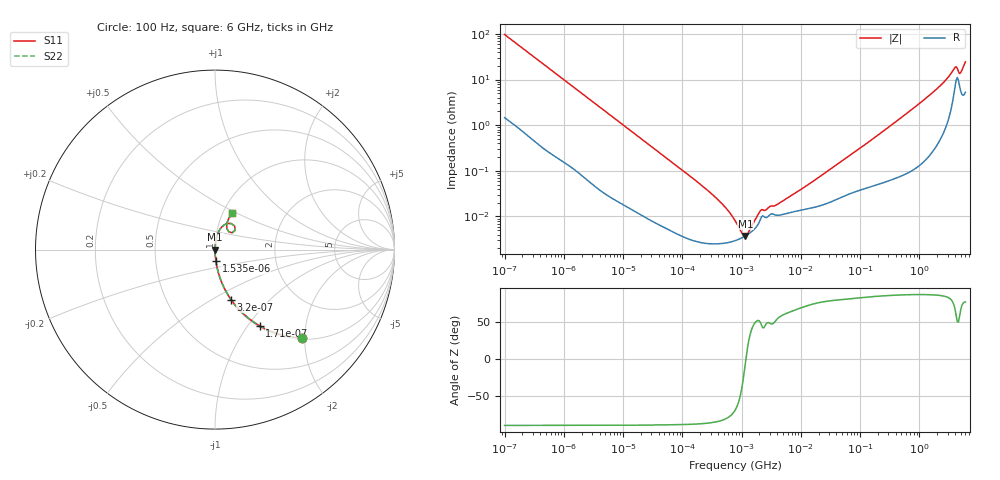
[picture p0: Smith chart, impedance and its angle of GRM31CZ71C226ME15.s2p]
!Murata Part Number: GRM31CZ71C226ME15
!These Parameters are Measured in Series Mode Connection
!Data Generated on Mar 30, 2021
!  o--ll--o
!Port1  Port2
!  o------o
!Operation Temp=25[degC], DC Bias Voltage=0[V]
!Freq. Start=100[Hz] Stop=6[GHz] 401[Steps]
# Hz S RI R 50
!Freq.(Hz) S11(Real) S11(Imag) S21(Real) S21(Imag) S12(Real) S12(Imag) S22(Real) S22(Imag)
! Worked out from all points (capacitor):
!   401 points, 100 Hz to 6 GHz, reference 50 ohm
!   read as one part in series: C = 16.3 uF near 109 Hz
!   lowest |Z| = 3.76 mohm at 1.159 MHz (marker M1)
!   series resonance near 1.18 MHz, so ESL is about 1.1 nH
!   S11 on the Smith chart (normalised r, x): 100 Hz: 1.03, -1.94; 171 Hz: 1.02, -1.14; 320 Hz: 1.01, -0.61; 1.535 kHz: 1.00, -0.13; 6 GHz: 1.11, +0.48
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100  0.4862 -0.4924  0.5138 0.4924  0.5138 0.4924  0.4862 -0.4924
171  0.2493 -0.4251  0.7507 0.4251  0.7507 0.4251  0.2493 -0.4251
320  0.0894 -0.2783  0.9106 0.2783  0.9106 0.2783  0.0894 -0.2783
656  0.0243 -0.1468  0.9757 0.1468  0.9757 0.1468  0.0243 -0.1468
1535  0.00523 -0.0646  0.9948 0.0646  0.9948 0.0646  0.00523 -0.0646
2008  0.00326 -0.0496  0.9967 0.0496  0.9967 0.0496  0.00326 -0.0496
40335  7.22e-05 -0.00255  0.9999 0.00255  0.9999 0.00255  7.22e-05 -0.00255
252896  2.58e-05 -0.000395  1 0.000395  1 0.000395  2.58e-05 -0.000395
432798  2.54e-05 -0.000209  1 0.000209  1 0.000209  2.54e-05 -0.000209
677235  2.79e-05 -0.000103  1 0.000103  1 0.000103  2.79e-05 -0.000103
774597  2.95e-05 -7.62e-05  1 7.62e-05  1 7.62e-05  2.95e-05 -7.62e-05
1159002  3.75e-05 -3.1e-06  1 3.1e-06  1 3.1e-06  3.75e-05 -3.1e-06
1734173  5.67e-05 6.91e-05  0.9999 -6.91e-05  0.9999 -6.91e-05  5.67e-05 6.91e-05
2169299  9.76e-05 0.000102  0.9999 -0.000102  0.9999 -0.000102  9.76e-05 0.000102
4060267  0.000106 0.000152  0.9999 -0.000152  0.9999 -0.000152  0.000106 0.000152
1.555665e7  0.000154 0.00055  0.9998 -0.00055  0.9998 -0.00055  0.000154 0.00055
3.124326e8  0.000696 0.0093  0.9993 -0.0093  0.9993 -0.0093  0.000696 0.0093
1.791126e9  0.00601 0.0551  0.994 -0.0551  0.994 -0.0551  0.00601 0.0551
3.065283e9  0.0243 0.1073  0.9757 -0.1073  0.9757 -0.1073  0.0243 0.1073
3.8344e9  0.0682 0.1451  0.9318 -0.1451  0.9318 -0.1451  0.0682 0.1451
5.016141e9  0.0667 0.1165  0.9333 -0.1165  0.9333 -0.1165  0.0667 0.1165
6e9  0.0964 0.2046  0.9036 -0.2046  0.9036 -0.2046  0.0964 0.2046
